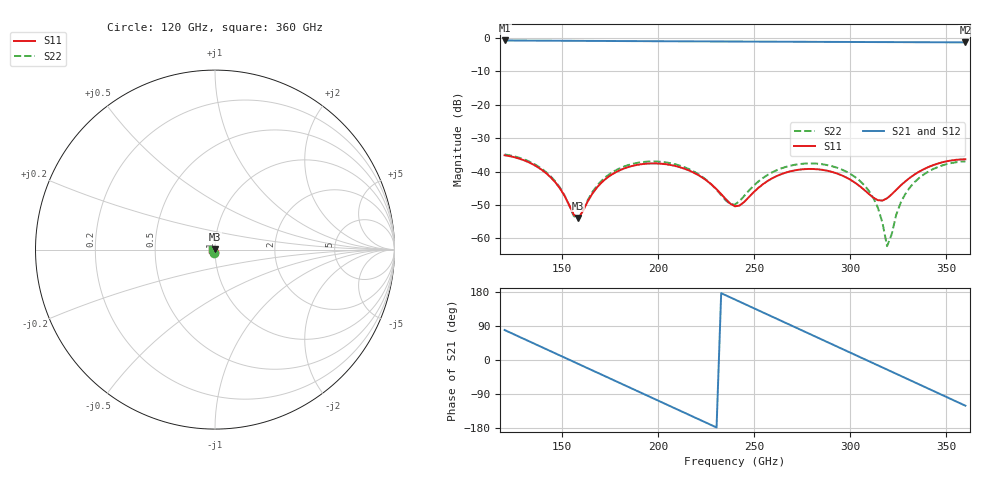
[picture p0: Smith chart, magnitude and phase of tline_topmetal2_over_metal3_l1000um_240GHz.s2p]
#  GHZ S DB R 50
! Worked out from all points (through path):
!   101 points, 120 GHz to 360 GHz, reference 50 ohm
!   highest |S21| = -0.85 dB at 120 GHz (marker M1); lowest = -1.4 dB at 360 GHz (marker M2)
!   group delay of S21, straight-line fit = 6.48 ps
!   lowest |S11| = -53.9 dB at 158.4 GHz (marker M3), VSWR 1.00, Z = 50.1 + j0.157 ohm
!   |S11| at or under -10 dB: start of sweep to end of sweep
!   |S22| runs from -62.3 to -34.9 dB; largest |S21 - S12| = 1e-14
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120  -35.15 -113.3  -0.85 79.1  -0.85 79.1  -34.91 -113.0
141.6  -40.49 -177.7  -0.92 28.8  -0.92 28.8  -40.18 -176.3
148.8  -45.03 154.0  -0.94 12.0  -0.94 12.0  -44.80 156.3
158.4  -53.90 50.7  -0.96 -10.4  -0.96 -10.4  -54.34 48.4
160.8  -51.79 13.1  -0.97 -15.9  -0.97 -15.9  -51.71 9.6
168  -44.84 -37.3  -0.99 -32.7  -0.99 -32.7  -44.33 -38.4
175.2  -41.13 -64.6  -1.01 -49.5  -1.01 -49.5  -40.57 -64.6
189.6  -37.96 -109.7  -1.05 -83.0  -1.05 -83.0  -37.37 -108.3
201.6  -37.68 -145.6  -1.08 -111.0  -1.08 -111.0  -37.11 -143.4
220.8  -41.04 152.5  -1.13 -155.7  -1.13 -155.7  -40.75 155.7
240  -50.40 33.4  -1.17 159.5  -1.17 159.5  -49.84 24.0
261.6  -41.39 -103.4  -1.22 109.1  -1.22 109.1  -39.64 -98.1
280.8  -39.25 -166.6  -1.26 64.3  -1.26 64.3  -37.60 -155.9
292.8  -40.52 153.8  -1.29 36.3  -1.29 36.3  -38.81 170.0
304.8  -44.31 105.3  -1.31 8.3  -1.31 8.3  -42.67 135.3
314.4  -48.58 36.2  -1.33 -14.1  -1.33 -14.1  -50.80 100.9
319.2  -48.00 -11.3  -1.34 -25.3  -1.34 -25.3  -62.31 37.5
321.6  -46.82 -31.4  -1.34 -30.9  -1.34 -30.9  -58.79 -47.8
326.4  -44.13 -61.9  -1.35 -42.1  -1.35 -42.1  -49.18 -86.1
333.6  -40.86 -93.9  -1.37 -58.9  -1.37 -58.9  -43.14 -111.3
345.6  -37.64 -134.5  -1.39 -86.9  -1.39 -86.9  -38.67 -146.1
360  -36.34 -176.9  -1.42 -120.6  -1.42 -120.6  -36.98 173.3
